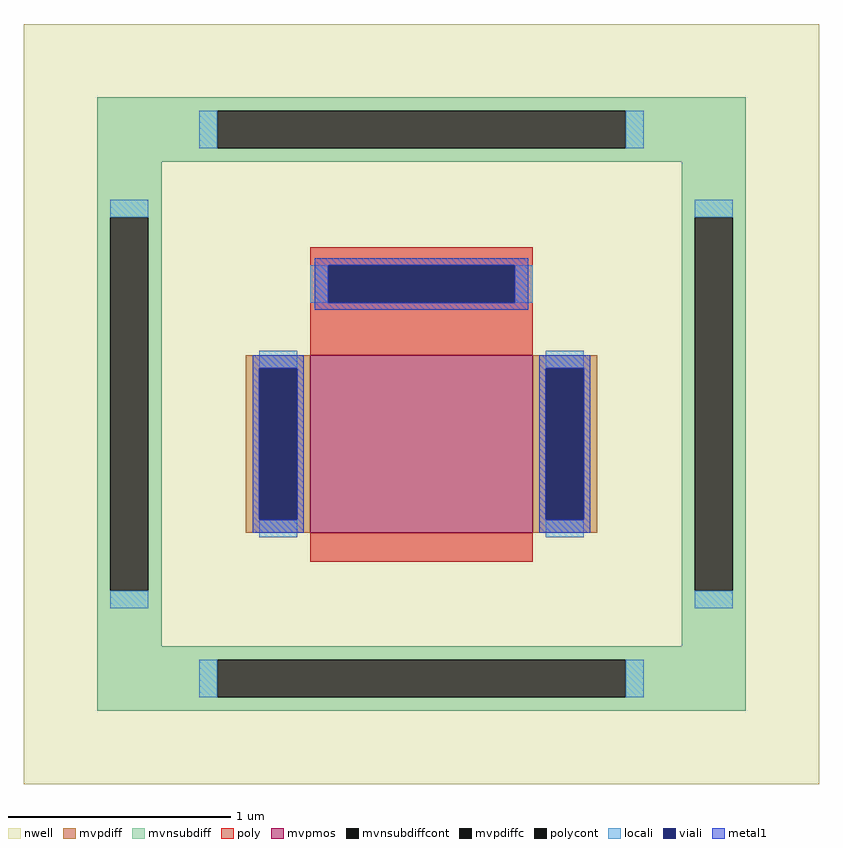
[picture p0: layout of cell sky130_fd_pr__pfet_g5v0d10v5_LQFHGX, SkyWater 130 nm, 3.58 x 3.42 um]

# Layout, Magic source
magic
tech sky130A
magscale 1 2
<< nwell >>
rect -358 -342 358 342
<< mvpmos >>
rect -100 -116 100 44
<< mvpdiff >>
rect -158 32 -100 44
rect -158 -104 -146 32
rect -112 -104 -100 32
rect -158 -116 -100 -104
rect 100 32 158 44
rect 100 -104 112 32
rect 146 -104 158 32
rect 100 -116 158 -104
<< mvpdiffc >>
rect -146 -104 -112 32
rect 112 -104 146 32
<< mvnsubdiff >>
rect -292 264 292 276
rect -292 230 -184 264
rect 184 230 292 264
rect -292 218 292 230
rect -292 168 -234 218
rect -292 -168 -280 168
rect -246 -168 -234 168
rect 234 168 292 218
rect -292 -218 -234 -168
rect 234 -168 246 168
rect 280 -168 292 168
rect 234 -218 292 -168
rect -292 -230 292 -218
rect -292 -264 -184 -230
rect 184 -264 292 -230
rect -292 -276 292 -264
<< mvnsubdiffcont >>
rect -184 230 184 264
rect -280 -168 -246 168
rect 246 -168 280 168
rect -184 -264 184 -230
<< poly >>
rect -100 125 100 141
rect -100 91 -84 125
rect 84 91 100 125
rect -100 44 100 91
rect -100 -142 100 -116
<< polycont >>
rect -84 91 84 125
<< locali >>
rect -200 230 -184 264
rect 184 230 200 264
rect -280 168 -246 184
rect 246 168 280 184
rect -100 91 -84 125
rect 84 91 100 125
rect -146 32 -112 48
rect -146 -120 -112 -104
rect 112 32 146 48
rect 112 -120 146 -104
rect -280 -184 -246 -168
rect 246 -184 280 -168
rect -200 -264 -184 -230
rect 184 -264 200 -230
<< viali >>
rect -84 91 84 125
rect -146 -104 -112 32
rect 112 -104 146 32
<< metal1 >>
rect -96 125 96 131
rect -96 91 -84 125
rect 84 91 96 125
rect -96 85 96 91
rect -152 32 -106 44
rect -152 -104 -146 32
rect -112 -104 -106 32
rect -152 -116 -106 -104
rect 106 32 152 44
rect 106 -104 112 32
rect 146 -104 152 32
rect 106 -116 152 -104
<< properties >>
string FIXED_BBOX -263 -247 263 247
string gencell sky130_fd_pr__pfet_g5v0d10v5
string library sky130
string parameters w 0.8 l 1 m 1 nf 1 diffcov 100 polycov 100 guard 1 glc 1 grc 1 gtc 1 gbc 1 tbcov 100 rlcov 100 topc 1 botc 0 poverlap 0 doverlap 1 lmin 0.50 wmin 0.42 compatible {sky130_fd_pr__pfet_01v8  sky130_fd_pr__pfet_01v8_lvt sky130_fd_pr__pfet_01v8_hvt  sky130_fd_pr__pfet_g5v0d10v5} full_metal 0 viasrc 100 viadrn 100 viagate 100 viagb 0 viagr 0 viagl 0 viagt 0
<< end >>
